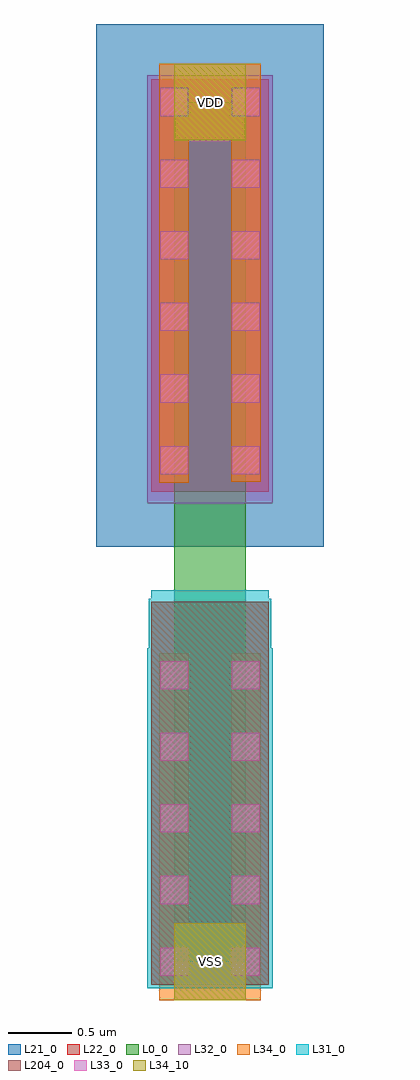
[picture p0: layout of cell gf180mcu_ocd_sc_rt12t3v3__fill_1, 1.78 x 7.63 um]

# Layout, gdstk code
import gdstk
lib = gdstk.Library(unit=1e-6, precision=1e-09)
def R(c, l, rs):  # rectangles x0, y0, x1, y1
    for r in rs: c.add(gdstk.rectangle(r[:2], r[2:], *l))
def A(c, l, x, y, w, h, nx, ny, dx, dy):  # array of equal rectangles
    R(c, l, [(x+i*dx, y+j*dy, x+i*dx+w, y+j*dy+h) for i in range(nx) for j in range(ny)])
L0_0 = (0, 0)
L21_0 = (21, 0)
L22_0 = (22, 0)
L31_0 = (31, 0)
L32_0 = (32, 0)
L33_0 = (33, 0)
L34_0 = (34, 0)
L34_10 = (34, 10)
L204_0 = (204, 0)

gf180mcu_ocd_sc_rt12t3v3 = lib.new_cell('gf180mcu_ocd_sc_rt12t3v3__fill_1')
R(gf180mcu_ocd_sc_rt12t3v3, L0_0, [(0,0,0.56,6.72)])
R(gf180mcu_ocd_sc_rt12t3v3, L21_0, [(-0.61,3.245,1.17,7.33)])
R(gf180mcu_ocd_sc_rt12t3v3, L22_0, [(-0.18,-0.18,0.74,2.815), (-0.18,3.675,0.74,6.9)])
R(gf180mcu_ocd_sc_rt12t3v3, L31_0, [(-0.21,-0.21,0.77,2.45), (-0.2,2.45,0.76,2.835), (-0.18,2.835,0.74,2.905)])
R(gf180mcu_ocd_sc_rt12t3v3, L32_0, [(-0.21,3.585,0.77,6.93)])
A(gf180mcu_ocd_sc_rt12t3v3, L33_0, -0.11, -0.11, 0.22, 0.22, 1, 5, 0, 0.56)
A(gf180mcu_ocd_sc_rt12t3v3, L33_0, 0.45, -0.11, 0.22, 0.22, 1, 5, 0, 0.56)
A(gf180mcu_ocd_sc_rt12t3v3, L33_0, -0.11, 3.81, 0.22, 0.22, 1, 6, 0, 0.56)
A(gf180mcu_ocd_sc_rt12t3v3, L33_0, 0.45, 3.81, 0.22, 0.22, 1, 6, 0, 0.56)
R(gf180mcu_ocd_sc_rt12t3v3, L34_0, [(-0.115,-0.3,0.675,0.3), (-0.115,0.3,0.115,2.41), (0.445,0.3,0.675,2.41), (-0.115,3.745,0.115,6.42), (0.445,3.75,0.675,6.42), (-0.115,6.42,0.675,7.02)])
R(gf180mcu_ocd_sc_rt12t3v3, L34_10, [(0,-0.3,0.56,0.3), (0,6.42,0.56,7.02)])
R(gf180mcu_ocd_sc_rt12t3v3, L204_0, [(0,-0.3,0.56,-0.18), (-0.18,-0.18,0.74,2.815)])
gf180mcu_ocd_sc_rt12t3v3.add(gdstk.Label('VDD', (0.28,6.72), layer=34, texttype=10))
gf180mcu_ocd_sc_rt12t3v3.add(gdstk.Label('VSS', (0.28,0), layer=34, texttype=10))

lib.write_gds('gf180mcu_ocd_sc_rt12t3v3__fill_1.gds')
